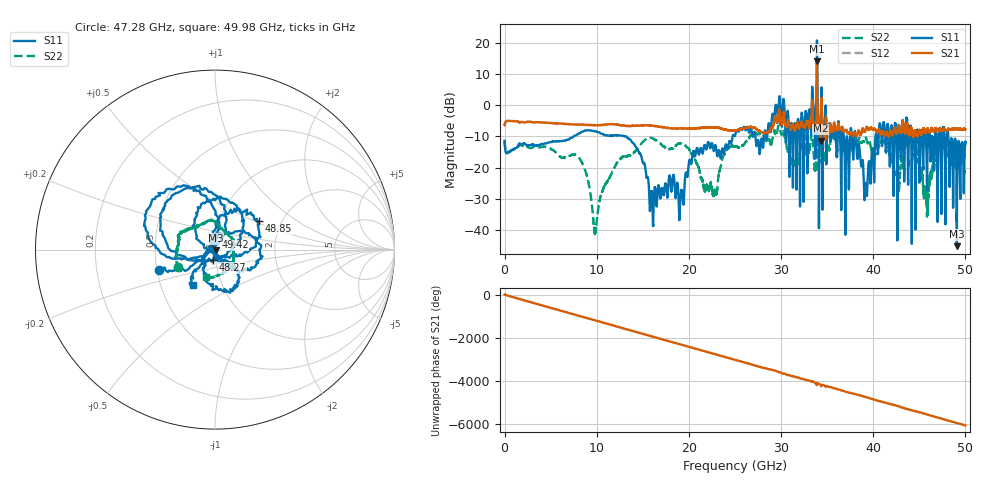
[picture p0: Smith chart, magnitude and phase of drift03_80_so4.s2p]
!Created with skrf (http://scikit-rf.org).
# Hz S RI R 50.0
!freq ReS11 ImS11 ReS21 ImS21 ReS12 ImS12 ReS22 ImS22
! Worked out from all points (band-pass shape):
!   10001 points, 300 kHz to 50 GHz, reference 50 ohm
!   highest |S21| = 14.10 dB at 33.9 GHz (marker M1); lowest = -11.4 dB at 34.32 GHz (marker M2)
!   |S21| within 3 dB of the highest: 33.89063 GHz to 33.90376 GHz (13.13 MHz wide, 0.0387 % of centre)
!   lowest |S11| = -45.2 dB at 49.08 GHz (marker M3), VSWR 1.01, Z = 50.3 - j0.453 ohm
!   |S11| at or under -10 dB: start of sweep to 7.491 GHz; 13.12 GHz to 24.74 GHz (11.62 GHz wide, 61.4 % of centre); 38.09 GHz to 40.25 GHz (2.156 GHz wide, 5.5 % of centre) (the widest 3 of 47)
!   |S22| runs from -41.4 to 6.6 dB; largest |S21 - S12| = 0.36
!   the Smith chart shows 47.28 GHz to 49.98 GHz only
!   S11 on the Smith chart (normalised r, x): 47.28 GHz: 0.51, -0.13; 48.27 GHz: 0.97, -0.11; 48.85 GHz: 1.53, +0.53; 49.42 GHz: 1.00, +0.14; 49.98 GHz: 0.73, -0.30
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300000  -0.2389 -0.1238  0.4703 0.0803  0.4666 0.0805  -0.2373 -0.1258
1.440291e9  0.2099 0.0648  -0.5479 -0.03  -0.5481 -0.0298  0.2117 -0.0039
2.915283e9  -0.2124 -0.0879  0.5342 0.052  0.5347 0.0522  -0.2018 0.04
4.415274e9  0.2058 0.1326  -0.5216 -0.0428  -0.522 -0.0428  0.199 -0.0871
8.33525e9  0.289 -0.2324  0.1453 0.4662  0.1451 0.4668  -0.0725 -0.1015
9.840241e9  -0.3647 0.1249  -0.1421 -0.4543  -0.1425 -0.4542  0.00864 0.00219
1.66702e10  0.0266 0.0433  -0.3791 0.2521  -0.38 0.2519  -0.1287 -0.2211
2.500015e10  -0.3257 -0.0162  -0.2527 -0.2988  -0.2523 -0.3  -0.2122 0.0273
2.895513e10  -0.3266 0.431  -0.2901 0.3241  -0.3006 0.2881  0.0647 0.2224
3.006512e10  0.4011 0.268  0.4525 -0.1938  0.4559 -0.1791  0.1779 -0.296
3.171011e10  -0.0924 0.1859  -0.3651 0.3556  -0.3656 0.3535  0.065 0.1586
3.33351e10  0.6513 -0.804  0.2676 -0.8473  0.2714 -0.8253  -0.1783 -0.4318
3.38951e10  -2.508 -10.59  -5.002 0.8092  -4.705 1.018  0.5169 2.067
3.432009e10  -0.778 -0.00105  -0.1819 0.1989  -0.2443 0.1779  0.1438 -0.0741
4.167005e10  -0.2071 0.3006  0.3155 0.00429  0.3166 0.0117  -0.1968 -0.00825
4.728002e10  -0.3129 -0.1146  0.3053 0.2979  0.3025 0.2923  -0.2062 -0.0992
4.827001e10  -0.00983 -0.0569  0.0831 -0.3987  0.0862 -0.3951  -0.0131 0.1633
4.885001e10  0.2431 0.1582  -0.3628 -0.1994  -0.3652 -0.1977  0.0997 0.0501
4.907501e10  0.00319 -0.0045  -0.4192 -0.0187  -0.421 -0.023  0.0965 0.0137
4.9415e10  0.00423 0.0697  -0.33 0.2605  -0.3309 0.2546  0.101 -0.0657
4.998e10  -0.1231 -0.1974  0.1204 0.3945  0.1164 0.3933  -0.0485 -0.1511
5e10  -0.1158 -0.2283  0.14 0.3849  0.1365 0.3829  -0.0524 -0.1477
